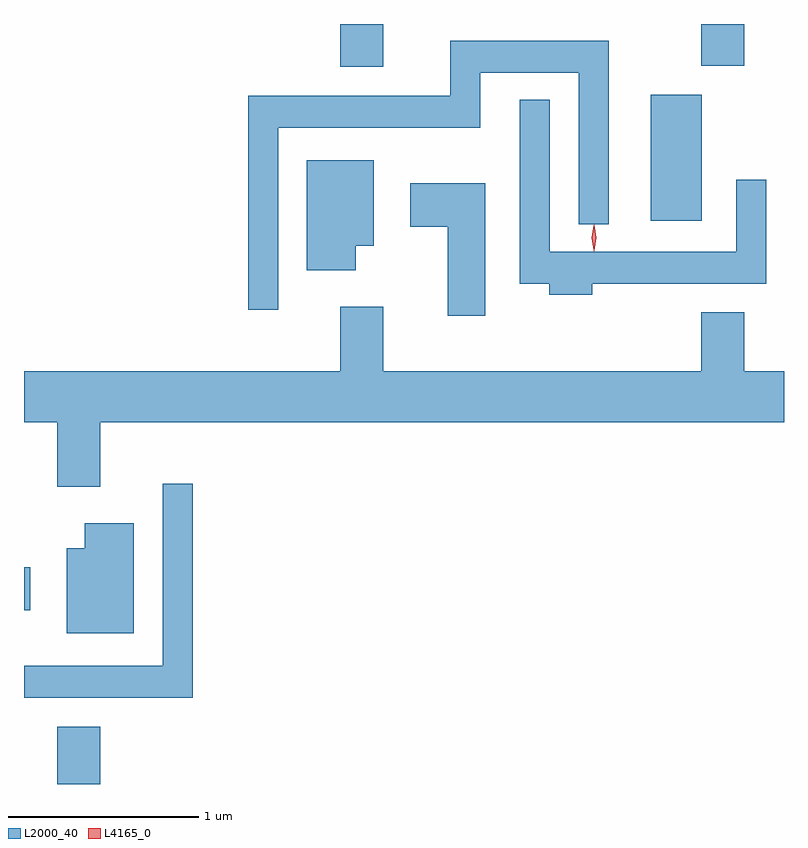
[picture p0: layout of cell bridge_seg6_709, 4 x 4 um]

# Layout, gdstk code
import gdstk
lib = gdstk.Library(unit=1e-6, precision=1e-09)
def R(c, l, rs):  # rectangles x0, y0, x1, y1
    for r in rs: c.add(gdstk.rectangle(r[:2], r[2:], *l))
def P(c, l, *ps):  # polygons
    for p in ps: c.add(gdstk.Polygon(p, *l))
L2000_40 = (2000, 40)
L4165_0 = (4165, 0)

bridge_seg6_709 = lib.new_cell('bridge_seg6_709')
R(bridge_seg6_709, L2000_40, [(510.721,1537.032,510.949,1537.334), (510.547,1537.946,510.579,1538.174), (513.846,1539.996,514.114,1540.659), (512.211,1540.806,512.439,1541.032), (514.111,1540.811,514.339,1541.032)])
P(bridge_seg6_709, L2000_40, [(511.884,1540.486),(512.949,1540.486),(512.949,1540.776),(513.466,1540.776),(513.466,1539.978),(513.624,1539.978),(513.624,1540.944),(512.791,1540.944),(512.791,1540.654),(511.726,1540.654),(511.726,1539.528),(511.884,1539.528)],
  [(513.539,1539.666),(514.454,1539.666),(514.454,1540.213),(514.296,1540.213),(514.296,1539.834),(513.314,1539.834),(513.314,1540.633),(513.156,1540.633),(513.156,1539.666),(513.311,1539.666),(513.311,1539.606),(513.539,1539.606)],
  [(512.294,1539.866),(512.389,1539.866),(512.389,1540.314),(512.036,1540.314),(512.036,1539.736),(512.294,1539.736)],
  [(512.974,1540.194),(512.581,1540.194),(512.581,1539.966),(512.776,1539.966),(512.776,1539.496),(512.974,1539.496)],
  [(510.949,1538.936),(514.547,1538.936),(514.547,1539.204),(514.339,1539.204),(514.339,1539.514),(514.111,1539.514),(514.111,1539.204),(512.439,1539.204),(512.439,1539.544),(512.211,1539.544),(512.211,1539.204),(510.547,1539.204),(510.547,1538.936),(510.721,1538.936),(510.721,1538.596),(510.949,1538.596)],
  [(511.434,1538.613),(511.276,1538.613),(511.276,1537.654),(510.547,1537.654),(510.547,1537.486),(511.434,1537.486)],
  [(511.124,1538.404),(510.866,1538.404),(510.866,1538.274),(510.771,1538.274),(510.771,1537.826),(511.124,1537.826)])
P(bridge_seg6_709, L4165_0, [(513.546,1539.839),(513.545,1539.84),(513.535,1539.906),(513.545,1539.972),(513.545,1539.973),(513.546,1539.972),(513.555,1539.906),(513.546,1539.84)],
  [(513.548,1539.837),(513.547,1539.838),(513.538,1539.907),(513.547,1539.976),(513.548,1539.976),(513.548,1539.976),(513.558,1539.907),(513.548,1539.838)])

lib.write_gds('bridge_seg6_709.gds')
